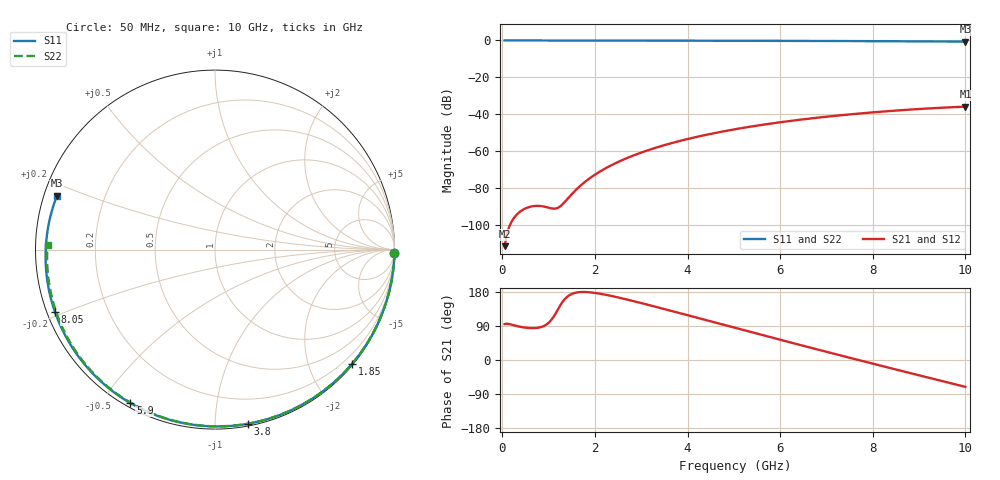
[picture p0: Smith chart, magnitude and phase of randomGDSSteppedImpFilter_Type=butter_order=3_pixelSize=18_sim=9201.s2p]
! freq	dB(S11)	phase(S11)	dB(S12)	phase(S12)
!  dB(S21)	phase(S21)	dB(S22)	phase(S22)
!S-par simulation data
#  GHz  S  DB  R 50
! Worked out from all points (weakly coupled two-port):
!   200 points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, 50 MHz to 10 GHz, reference 50 ohm
!   highest |S21| = -35.87 dB at 10 GHz (marker M1); lowest = -111.5 dB at 50 MHz (marker M2)
!   lowest |S11| = -0.6 dB at 10 GHz (marker M3), VSWR 27.76, Z = 1.85 + j8.29 ohm
!   |S11| at or under -10 dB: nowhere
!   |S22| runs from -0.6 to 0.0 dB; largest |S21 - S12| = 0
!   S11 on the Smith chart (normalised r, x): 50 MHz: open; 1.85 GHz: 0.02, -2.75; 3.8 GHz: 0.02, -1.20; 5.9 GHz: 0.02, -0.59; 8.05 GHz: 0.02, -0.19; 10 GHz: 0.04, +0.17
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0.05  -0.00 -1.1  -111.53 94.7  -111.53 94.7  -0.00 -1.0
0.8  -0.02 -17.5  -89.71 85.8  -89.71 85.8  -0.02 -16.1
1.6  -0.04 -34.7  -80.77 178.0  -80.77 178.0  -0.04 -31.9
1.65  -0.05 -35.7  -79.58 178.9  -79.58 178.9  -0.04 -32.9
1.75  -0.05 -37.8  -77.39 179.5  -77.39 179.5  -0.04 -34.9
1.85  -0.05 -39.9  -75.41 179.1  -75.41 179.1  -0.05 -36.8
2.15  -0.06 -46.2  -70.44 174.0  -70.44 174.0  -0.05 -42.6
2.5  -0.07 -53.4  -65.89 165.1  -65.89 165.1  -0.06 -49.3
2.9  -0.08 -61.6  -61.71 153.3  -61.71 153.3  -0.07 -56.8
3.4  -0.09 -71.6  -57.50 137.6  -57.50 137.6  -0.09 -66.1
3.8  -0.11 -79.4  -54.70 124.7  -54.70 124.7  -0.10 -73.4
4.4  -0.13 -91.0  -51.17 105.2  -51.17 105.2  -0.12 -84.1
5.05  -0.16 -103.2  -48.03 84.1  -48.03 84.1  -0.15 -95.4
5.9  -0.21 -118.9  -44.70 56.6  -44.70 56.6  -0.19 -109.9
6.7  -0.26 -133.5  -42.17 31.1  -42.17 31.1  -0.24 -123.4
7.4  -0.32 -146.4  -40.33 9.1  -40.33 9.1  -0.30 -135.2
8.05  -0.38 -158.6  -38.88 -11.2  -38.88 -11.2  -0.36 -146.2
8.35  -0.41 -164.4  -38.29 -20.5  -38.29 -20.5  -0.39 -151.4
8.8  -0.47 -173.3  -37.49 -34.3  -37.49 -34.3  -0.44 -159.3
9.2  -0.52 178.5  -36.87 -46.6  -36.87 -46.6  -0.49 -166.5
9.6  -0.57 170.0  -36.33 -58.8  -36.33 -58.8  -0.54 -173.9
10  -0.63 161.1  -35.87 -70.9  -35.87 -70.9  -0.60 178.4
